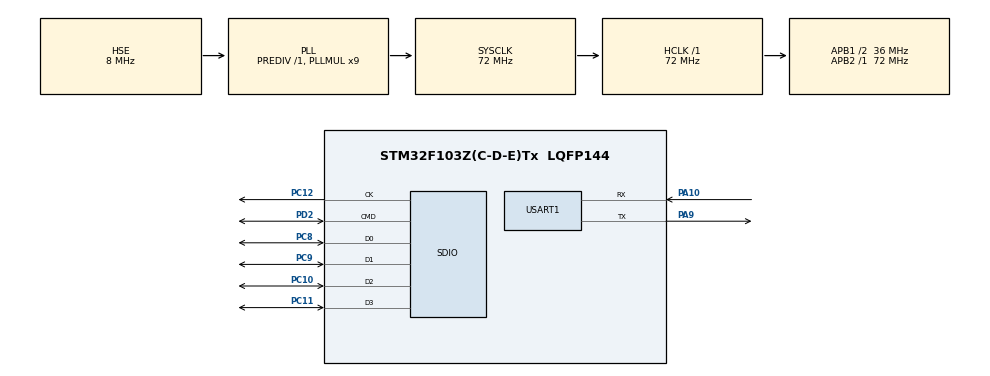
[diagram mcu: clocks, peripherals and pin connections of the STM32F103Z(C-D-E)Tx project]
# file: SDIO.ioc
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Dma.Request0=SDIO
Dma.SDIO.0.Direction=DMA_PERIPH_TO_MEMORY
Dma.SDIO.0.Instance=DMA2_Channel4
Dma.SDIO.0.MemDataAlignment=DMA_MDATAALIGN_WORD
Dma.SDIO.0.MemInc=DMA_MINC_ENABLE
Dma.SDIO.0.Mode=DMA_NORMAL
Dma.SDIO.0.PeriphDataAlignment=DMA_PDATAALIGN_WORD
Dma.SDIO.0.PeriphInc=DMA_PINC_DISABLE
Dma.SDIO.0.Priority=DMA_PRIORITY_LOW
Mcu.Family=STM32F1
Mcu.Name=STM32F103Z(C-D-E)Tx
Mcu.Package=LQFP144
NVIC.DMA2_Channel4_5_IRQn=true\:1\:0\:true\:false\:true
NVIC.PriorityGroup=NVIC_PRIORITYGROUP_4
NVIC.SDIO_IRQn=true\:0\:0\:true\:false\:true
OSC_IN.Mode=HSE-External-Oscillator
OSC_IN.Signal=RCC_OSC_IN
OSC_OUT.Mode=HSE-External-Oscillator
OSC_OUT.Signal=RCC_OSC_OUT
PA10.Mode=Asynchronous
PA10.Signal=USART1_RX
PA9.Mode=Asynchronous
PA9.Signal=USART1_TX
PC10.Mode=SD_4_bits_Wide_bus
PC10.Signal=SDIO_D2
PC11.Mode=SD_4_bits_Wide_bus
PC11.Signal=SDIO_D3
PC12.Mode=SD_4_bits_Wide_bus
PC12.Signal=SDIO_CK
PC8.Mode=SD_4_bits_Wide_bus
PC8.Signal=SDIO_D0
PC9.Mode=SD_4_bits_Wide_bus
PC9.Signal=SDIO_D1
PD2.Mode=SD_4_bits_Wide_bus
PD2.Signal=SDIO_CMD
ProjectManager.HeapSize=0x200
ProjectManager.StackSize=0x400
ProjectManager.TargetToolchain=MDK-ARM V5
RCC.AHBFreq_Value=72000000
RCC.APB1CLKDivider=RCC_HCLK_DIV2
RCC.APB1Freq_Value=36000000
RCC.APB1TimFreq_Value=72000000
RCC.APB2Freq_Value=72000000
RCC.APB2TimFreq_Value=72000000
RCC.HCLKFreq_Value=72000000
RCC.HSIState=RCC_HSI_ON
RCC.PLLMUL=RCC_PLL_MUL9
RCC.PLLSourceVirtual=RCC_PLLSOURCE_HSE
RCC.SYSCLKFreq_VALUE=72000000
RCC.SYSCLKSource=RCC_SYSCLKSOURCE_PLLCLK
RCC.USBFreq_Value=72000000
SDIO.BusWide=SDIO_BUS_WIDE_1B
SDIO.ClockDiv=2
SDIO.WideMode=SDIO_BUS_WIDE_4B
VP_SYS_VS_ND.Mode=No_Debug
board=SDIO

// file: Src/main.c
/**
  ******************************************************************************
  * File Name          : main.c
  * Description        : Main program body
  ******************************************************************************
  *
  * COPYRIGHT(c) 2016 STMicroelectronics
  *
  * Redistribution and use in source and binary forms, with or without modification,
  * are permitted provided that the following conditions are met:
  *   1. Redistributions of source code must retain the above copyright notice,
  *      this list of conditions and the following disclaimer.
  *   2. Redistributions in binary form must reproduce the above copyright notice,
  *      this list of conditions and the following disclaimer in the documentation
  *      and/or other materials provided with the distribution.
  *   3. Neither the name of STMicroelectronics nor the names of its contributors
  *      may be used to endorse or promote products derived from this software
  *      without specific prior written permission.
  *
  * THIS SOFTWARE IS PROVIDED BY THE COPYRIGHT HOLDERS AND CONTRIBUTORS "AS IS"
  * AND ANY EXPRESS OR IMPLIED WARRANTIES, INCLUDING, BUT NOT LIMITED TO, THE
  * IMPLIED WARRANTIES OF MERCHANTABILITY AND FITNESS FOR A PARTICULAR PURPOSE ARE
  * DISCLAIMED. IN NO EVENT SHALL THE COPYRIGHT HOLDER OR CONTRIBUTORS BE LIABLE
  * FOR ANY DIRECT, INDIRECT, INCIDENTAL, SPECIAL, EXEMPLARY, OR CONSEQUENTIAL
  * DAMAGES (INCLUDING, BUT NOT LIMITED TO, PROCUREMENT OF SUBSTITUTE GOODS OR
  * SERVICES; LOSS OF USE, DATA, OR PROFITS; OR BUSINESS INTERRUPTION) HOWEVER
  * CAUSED AND ON ANY THEORY OF LIABILITY, WHETHER IN CONTRACT, STRICT LIABILITY,
  * OR TORT (INCLUDING NEGLIGENCE OR OTHERWISE) ARISING IN ANY WAY OUT OF THE USE
  * OF THIS SOFTWARE, EVEN IF ADVISED OF THE POSSIBILITY OF SUCH DAMAGE.
  *
  ******************************************************************************
  */
#include "main.h"
#include "stm32f1xx_hal.h"
#include "dma.h"
#include "sdio.h"
#include "usart.h"
#include "gpio.h"

/* USER CODE BEGIN Includes */
#include <string.h>
/* USER CODE END Includes */

/* USER CODE BEGIN PV */
/* Private variables ---------------------------------------------------------*/
HAL_SD_ErrorTypedef Status;
uint32_t Buffer_Tx[512/4], Buffer_Rx[512/4];
uint32_t i;
/* USER CODE END PV */

void SystemClock_Config(void);
void Error_Handler(void);

/* USER CODE BEGIN PFP */
/* Private function prototypes -----------------------------------------------*/

/* USER CODE END PFP */

int main(void)
{

  /* MCU Configuration----------------------------------------------------------*/

  /* Reset of all peripherals, Initializes the Flash interface and the Systick. */
  HAL_Init();

  /* Configure the system clock */
  SystemClock_Config();

  /* Initialize all configured peripherals */
  MX_GPIO_Init();
  MX_DMA_Init();
  MX_USART1_UART_Init();
  MX_SDIO_SD_Init();

  /* USER CODE BEGIN 2 */
  printf(" Warning: this program will erase all the TF card data. \r\n");

  printf("\r\n Initialize SD card successfully!\r\n\r\n");
  printf(" SD card information! \r\n");
  printf(" CardCapacity  : %llu \r\n", SDCardInfo.CardCapacity );
  printf(" CardBlockSize : %d \r\n", SDCardInfo.CardBlockSize);
  printf(" RCA           : %d \r\n", SDCardInfo.RCA);
  printf(" CardType      : %d \r\n", SDCardInfo.CardType);

  /*------------------- Block Write --------------------------*/
  memset(Buffer_Tx, 0x15, sizeof(Buffer_Tx));

  /* Prepare the dma channel for a write operation */
  SD_DMAConfigTx(&hsd);

  /* Read block(s) in DMA transfer mode */
  if(HAL_SD_WriteBlocks_DMA(&hsd, Buffer_Tx, 0, 512, 1) == SD_OK)
  {
    /* Wait until transfer is complete */
    Status = HAL_SD_CheckWriteOperation(&hsd, (uint32_t)100000000);
    if (Status == SD_OK)
    {
      printf("\r\n Write block successfully!\r\n");
      for(i = 0; i < sizeof(Buffer_Tx) >> 2; i++)
      {
        printf("%02x:0x%08x ", i, Buffer_Tx[i]);
      }
      printf("\r\n");
    }
    else
      printf("\r\n Write block fail!\r\n");
  }

  /*------------------- Block Read --------------------------*/
  /* Prepare the dma channel for a read operation */
  SD_DMAConfigRx(&hsd);

  /* Read block(s) in DMA transfer mode */
  if(HAL_SD_ReadBlocks_DMA(&hsd, Buffer_Rx, 0, 512, 1) == SD_OK)
  {
    /* Wait until transfer is complete */
    Status = HAL_SD_CheckReadOperation(&hsd, 0xFFFF);
    if (Status == SD_OK)
    {
      printf("\r\n Read block successfully!\r\n");
      for(i = 0; i < sizeof(Buffer_Rx) >> 2; i++)
      {
        printf("%02x:0x%08x ", i, Buffer_Rx[i]);
      }
      printf("\r\n");
    }
    else
      printf("\r\n Read block fail!\r\n");
  }

  /*------------------- Block Erase -------------------------------*/
  Status = HAL_SD_Erase(&hsd, 0, 512);
  if (Status == SD_OK)
    printf("\r\n Erase block successfully!\r\n");
  else
    printf("\r\n Erase block fail!\r\n");

  /*------------------- Block Read --------------------------*/
  /* Prepare the dma channel for a read operation */
  SD_DMAConfigRx(&hsd);

  /* Read block(s) in DMA transfer mode */
  if(HAL_SD_ReadBlocks_DMA(&hsd, Buffer_Rx, 0, 512, 1) == SD_OK)
  {
    /* Wait until transfer is complete */
    Status = HAL_SD_CheckReadOperation(&hsd, 0xFFFF);
    if (Status == SD_OK)
    {
      printf("\r\n Read block successfully!\r\n");
      for(i = 0; i < sizeof(Buffer_Rx) >> 2; i++)
      {
        printf("%02x:0x%08x ", i, Buffer_Rx[i]);
      }
      printf("\r\n");
    }
    else
      printf("\r\n Read block fail!\r\n");
  }
  /* USER CODE END 2 */

  /* Infinite loop */
  while (1)
  {

  }

}

/** System Clock Configuration
*/
void SystemClock_Config(void)
{

  RCC_OscInitTypeDef RCC_OscInitStruct;
  RCC_ClkInitTypeDef RCC_ClkInitStruct;

    /**Initializes the CPU, AHB and APB busses clocks
    */
  RCC_OscInitStruct.OscillatorType = RCC_OSCILLATORTYPE_HSE;
  RCC_OscInitStruct.HSEState = RCC_HSE_ON;
  RCC_OscInitStruct.HSEPredivValue = RCC_HSE_PREDIV_DIV1;
  RCC_OscInitStruct.HSIState = RCC_HSI_ON;
  RCC_OscInitStruct.PLL.PLLState = RCC_PLL_ON;
  RCC_OscInitStruct.PLL.PLLSource = RCC_PLLSOURCE_HSE;
  RCC_OscInitStruct.PLL.PLLMUL = RCC_PLL_MUL9;
  if (HAL_RCC_OscConfig(&RCC_OscInitStruct) != HAL_OK)
  {
    Error_Handler();
  }

    /**Initializes the CPU, AHB and APB busses clocks
    */
  RCC_ClkInitStruct.ClockType = RCC_CLOCKTYPE_HCLK|RCC_CLOCKTYPE_SYSCLK
                              |RCC_CLOCKTYPE_PCLK1|RCC_CLOCKTYPE_PCLK2;
  RCC_ClkInitStruct.SYSCLKSource = RCC_SYSCLKSOURCE_PLLCLK;
  RCC_ClkInitStruct.AHBCLKDivider = RCC_SYSCLK_DIV1;
  RCC_ClkInitStruct.APB1CLKDivider = RCC_HCLK_DIV2;
  RCC_ClkInitStruct.APB2CLKDivider = RCC_HCLK_DIV1;

  if (HAL_RCC_ClockConfig(&RCC_ClkInitStruct, FLASH_LATENCY_2) != HAL_OK)
  {
    Error_Handler();
  }

    /**Configure the Systick interrupt time
    */
  HAL_SYSTICK_Config(HAL_RCC_GetHCLKFreq()/1000);

    /**Configure the Systick
    */
  HAL_SYSTICK_CLKSourceConfig(SYSTICK_CLKSOURCE_HCLK);

  /* SysTick_IRQn interrupt configuration */
  HAL_NVIC_SetPriority(SysTick_IRQn, 0, 0);
}

void Error_Handler(void)
{
  while(1)
  {
  }
}

/************************ (C) COPYRIGHT STMicroelectronics *****END OF FILE****/
